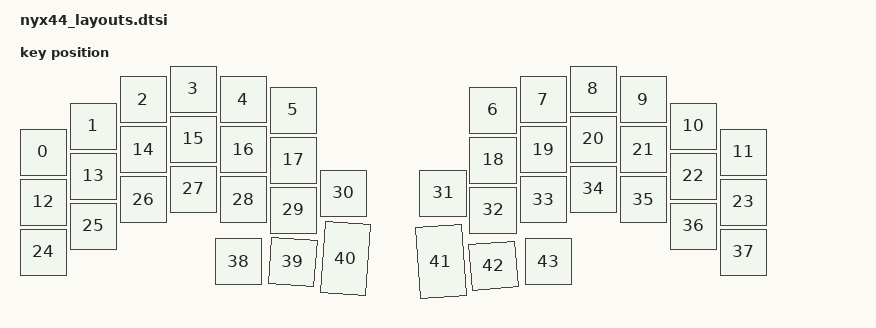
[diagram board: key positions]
#include <physical_layouts.dtsi>
#include "position_map.dtsi"


/ {
    nyx44_physical_layout: nyx44_physical_layout {
        compatible = "zmk,physical-layout";
        display-name = "Nyx44 Layout";
        transform = <&default_transform>;
        kscan = <&kscan>;
        
        keys  //                     w   h    x    y     rot    rx    ry
            = <&key_physical_attrs 100 100    0  126       0     0     0>
            , <&key_physical_attrs 100 100  100   74       0     0     0>
            , <&key_physical_attrs 100 100  200   21       0     0     0>
            , <&key_physical_attrs 100 100  300    0       0     0     0>
            , <&key_physical_attrs 100 100  400   21       0     0     0>
            , <&key_physical_attrs 100 100  500   42       0     0     0>
            , <&key_physical_attrs 100 100  900   42       0     0     0>
            , <&key_physical_attrs 100 100 1000   21       0     0     0>
            , <&key_physical_attrs 100 100 1100    0       0     0     0>
            , <&key_physical_attrs 100 100 1200   21       0     0     0>
            , <&key_physical_attrs 100 100 1300   74       0     0     0>
            , <&key_physical_attrs 100 100 1400  126       0     0     0>
            , <&key_physical_attrs 100 100    0  226       0     0     0>
            , <&key_physical_attrs 100 100  100  174       0     0     0>
            , <&key_physical_attrs 100 100  200  121       0     0     0>
            , <&key_physical_attrs 100 100  300  100       0     0     0>
            , <&key_physical_attrs 100 100  400  121       0     0     0>
            , <&key_physical_attrs 100 100  500  142       0     0     0>
            , <&key_physical_attrs 100 100  900  142       0     0     0>
            , <&key_physical_attrs 100 100 1000  121       0     0     0>
            , <&key_physical_attrs 100 100 1100  100       0     0     0>
            , <&key_physical_attrs 100 100 1200  121       0     0     0>
            , <&key_physical_attrs 100 100 1300  174       0     0     0>
            , <&key_physical_attrs 100 100 1400  226       0     0     0>
            , <&key_physical_attrs 100 100    0  326       0     0     0>
            , <&key_physical_attrs 100 100  100  274       0     0     0>
            , <&key_physical_attrs 100 100  200  221       0     0     0>
            , <&key_physical_attrs 100 100  300  200       0     0     0>
            , <&key_physical_attrs 100 100  400  221       0     0     0>
            , <&key_physical_attrs 100 100  500  242       0     0     0>
            , <&key_physical_attrs 100 100  600  208       0     0     0>
            , <&key_physical_attrs 100 100  800  208       0     0     0>
            , <&key_physical_attrs 100 100  900  242       0     0     0>
            , <&key_physical_attrs 100 100 1000  221       0     0     0>
            , <&key_physical_attrs 100 100 1100  200       0     0     0>
            , <&key_physical_attrs 100 100 1200  221       0     0     0>
            , <&key_physical_attrs 100 100 1300  274       0     0     0>
            , <&key_physical_attrs 100 100 1400  326       0     0     0>
            , <&key_physical_attrs 100 100  390  345       0     0     0>
            , <&key_physical_attrs 100 100  495  345     400   530   455>
            , <&key_physical_attrs 100 150  600  305     400   530   455>
            , <&key_physical_attrs 100 150  800  305  (-400)  1070   455>
            , <&key_physical_attrs 100 100  905  345  (-400)  1070   455>
            , <&key_physical_attrs 100 100 1010  345       0     0     0>
            ;
    };
};
&layouts_nyx44_position_map {
    nyx44_map: nyx44 {
        physical-layout = <&nyx44_physical_layout>;
        positions
            = < 0  1  2  3  4  5        6  7  8  9 10 11>
            , <12 13 14 15 16 17       18 19 20 21 22 23>
            , <24 25 26 27 28 29 30 31 32 33 34 35 36 37>
            , <            38 39 40 41 42 43         >;
    };
};
